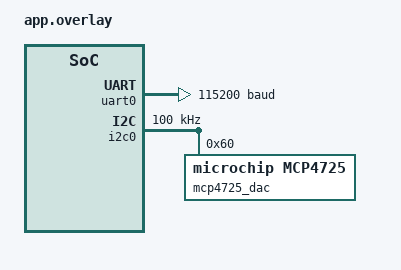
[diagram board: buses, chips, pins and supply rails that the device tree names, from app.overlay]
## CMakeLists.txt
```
# SPDX-License-Identifier: Apache-2.0

set(BOARD neorv32)
cmake_minimum_required(VERSION 3.20.0)
find_package(Zephyr REQUIRED HINTS $ENV{ZEPHYR_BASE})
project(blinky)
target_sources(app PRIVATE src/main.c)
```

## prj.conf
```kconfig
CONFIG_FLASH_SIZE=76
CONFIG_GPIO=y
CONFIG_LOG_MAX_LEVEL=4
CONFIG_LOG_PRINTK=y
CONFIG_LOG=y
CONFIG_PRINTK=y
CONFIG_SERIAL=y
CONFIG_SRAM_SIZE=32
CONFIG_STDOUT_CONSOLE=y
CONFIG_UART_CONSOLE=y
CONFIG_I2C_NEORV32=y
CONFIG_I2C=y

# DAC Support
CONFIG_DAC=y
CONFIG_DAC_MCP4725=y

# Optional shell support (disable if ROM is tight)
CONFIG_SHELL=y
CONFIG_SHELL_MINIMAL=y
CONFIG_DEVICE_SHELL=y
CONFIG_I2C_SHELL=y
#CONFIG_I2C_LOG_LEVEL_DBG=y
```

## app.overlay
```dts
/*
&cpu0 {
    clock-frequency = <DT_FREQ_M(27)>;
};
*/


&uart0 {
    current-speed = <115200>;
    reg = <0xfff50000 8>;
};

&imem {
    reg = <0x00000000 DT_SIZE_K(76)>;
};

&dmem {
    reg = <0x80000000 DT_SIZE_K(32)>;
};

&i2c0 {
    status = "okay";
    clock-frequency = <100000>; /* 100 kHz - Standard I2C speed */

    mcp4725_dac: mcp4725@60 {
        compatible = "microchip,mcp4725";
        reg = <0x60>;
        #io-channel-cells = <1>;
        status = "okay";
    };
};
```

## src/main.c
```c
/*
 * Copyright (c) 2016 Intel Corporation
 *
 * SPDX-License-Identifier: Apache-2.0
 */

#include <stdio.h>
#include <zephyr/drivers/gpio.h>
#include <zephyr/drivers/i2c.h>
#include <zephyr/drivers/dac.h>
#include <zephyr/kernel.h>
#include <zephyr/logging/log.h>

#define SLEEP_TIME_MS 10000
/* 1000 msec = 1 sec */

/* The devicetree node identifier for the "led0" alias. */
#define LED0_NODE DT_ALIAS(led0)

/*
 * A build error on this line means your board is unsupported.
 * See the sample documentation for information on how to fix this.
 */
static const struct gpio_dt_spec led = GPIO_DT_SPEC_GET(LED0_NODE, gpios);

#define PPS_TIMESTAMP_LO ((volatile uint32_t *)0x13000)
#define PPS_TIMESTAMP_HI ((volatile uint32_t *)0x13004)
#define PPS_FLAGS ((volatile uint32_t *)0x13008)
#define PPS_PPS_COUNT ((volatile uint32_t *)0x1300c)
#define PPS_TARGET_HZ 10000000LL // 10 MHz
#define PPS_TARGET_MAX_DELTA_HZ 1000LL
#define PLL_MULTIPLIER 10

unsigned int pps_count = 60;

static uint64_t pps_get64(volatile uint32_t *addr) {
  uint32_t th1, th2, tl;
  uint64_t ts;

  /* addr is low word; addr+1 is high */

  do {
    th1 = *(addr + 1);
    tl = *addr;
    th2 = *(addr + 1);
  } while (th1 != th2);

  ts = ((uint64_t)th1 << 32) | tl;

  return ts;
}

uint64_t pps_get_tcxo_timestamp(void) { return pps_get64(PPS_TIMESTAMP_LO); }

uint32_t pps_get_pps_flags(void) { return *PPS_FLAGS; }
uint32_t pps_get_pps_timestamp(void) { return *PPS_PPS_COUNT; }

#define PPS_FLAG_TIMSTAMP_VALID 0x1

void test_mcp4725_dac(void) {
  // Try DAC driver first (now that I2C is properly configured)
  const struct device *dac_dev = DEVICE_DT_GET(DT_NODELABEL(mcp4725_dac));

  // Generate a stepping DAC output pattern
  static uint16_t dac_value = 0;
  static uint8_t step_count = 0;

  // Create different voltage levels for easy scope observation
  // 0V, 0.825V, 1.65V, 2.475V, 3.3V (assuming 3.3V Vdd)
  uint16_t voltage_steps[] = {0, 1024, 2048, 3072, 4095}; // 12-bit values

  // Use predefined steps for first 5 cycles, then ramp
  if (step_count < 5) {
    dac_value = voltage_steps[step_count];
    step_count++;
  } else {
    // Continuous ramp from 0 to 4095
    dac_value += 256;  // Increment by 256 for visible steps
    if (dac_value > 4095) {
      dac_value = 0;
      step_count = 0;  // Reset to step pattern
    }
  }

  if (!device_is_ready(dac_dev)) {
    return;
  }
  // Use Zephyr DAC API
  struct dac_channel_cfg dac_cfg = {
    .channel_id = 0,
    .resolution = 12,
  };

  int ret = dac_channel_setup(dac_dev, &dac_cfg);
  if (ret < 0) {
    printf("DAC channel setup failed: %d\n", ret);
    return;
  }

  ret = dac_write_value(dac_dev, 0, dac_value);
  if (ret == 0) {
    uint32_t voltage_mv = (dac_value * 3300) / 4095;
    printf("DAC: value=%d, voltage=%d.%03dV\n",
            dac_value, voltage_mv / 1000, voltage_mv % 1000);
  } else {
    printf("DAC write failed: %d (value=%d)\n", ret, dac_value);
  }

}

void process_pps() {
  // Read conunters from fpga
  uint64_t pps_timestamp = pps_get_pps_timestamp();
  uint32_t pps_flags = pps_get_pps_flags();
  uint64_t tcxo_timestamp = pps_get_tcxo_timestamp();

  // These are the counts from the last ppm pulse
  static uint64_t last_tcxo_timestamp = 0;
  static uint64_t last_ppm_timestamp = 0;

  if (last_ppm_timestamp == pps_timestamp) {
    return;
  }
  printf("PPS timestamp: %llu flags: %" PRIu32 " tcxp: %" PRIu64 "\n",
         pps_timestamp, pps_flags, tcxo_timestamp);

  // These are the counts from where we started to meassure
  static uint64_t last_tcxo_reset_timestamp = 0;
  static uint64_t last_ppm_reset_timestamp = 0;

  uint64_t tcxo_ticks = tcxo_timestamp - last_tcxo_timestamp;
  uint64_t pps_ticks = pps_timestamp - last_ppm_timestamp;

  // Ticks since we started to meassure
  uint64_t delta_tcxo_ticks = tcxo_timestamp - last_tcxo_reset_timestamp;
  uint64_t delta_pps_ticks = pps_timestamp - last_ppm_reset_timestamp;

  /* Some checks are needed to avoid convergence problems.  One can
   * get junk readings from the GPS when it is aquiring a fix.  Also,
   * it can miss pulses if reception is not good.
   * Also, trying to go faster than clk_pps results in overflow in
   * The adjust function.  It's a good idea to process only observed periods
   * that are plausible.
   */

  unsigned char valid_signal = 1;
  /* reject periods that are not plausible */
  if ((tcxo_ticks <
       ((PPS_TARGET_HZ - PPS_TARGET_MAX_DELTA_HZ) * PLL_MULTIPLIER)) ||
      (tcxo_ticks >=
       ((PPS_TARGET_HZ + PPS_TARGET_MAX_DELTA_HZ) * PLL_MULTIPLIER))) {
    valid_signal = 0;
  }

  if (true) {

    // Observed period of all our meassurements
    uint64_t observed_period =
        (delta_tcxo_ticks * 1000) / (delta_pps_ticks * PLL_MULTIPLIER);
    uint32_t whole_part = observed_period / 1000000000;
    uint32_t fractional_part = observed_period % 1000000000;

    printf("TICKS/PPS: %" PRIu64 ", TCXO: %" PRIu64 ", PPS: %" PRIu64,
           tcxo_ticks / pps_ticks, delta_tcxo_ticks, delta_pps_ticks);
    printf(", FREQ: %" PRIu32 ".%" PRIu32 " MHz, status: %s", whole_part,
           fractional_part, (valid_signal == 1) ? "valid" : "invalid");
    printf("\n");
  }
  last_tcxo_timestamp = tcxo_timestamp;
  last_ppm_timestamp = pps_timestamp;

  // After 10 pulses we will reset the counter.
  if (delta_pps_ticks >= pps_count || !valid_signal) {
    last_tcxo_reset_timestamp = tcxo_timestamp;
    last_ppm_reset_timestamp = pps_timestamp;
  }
}

int main(void) {
  printf("Hello World! %s\n", CONFIG_BOARD);
  //LOG_LEVEL_SET(LOG_LEVEL_DBG);

  int ret;
  bool led_state = true;

  if (!gpio_is_ready_dt(&led)) {
    return 0;
  }

  ret = gpio_pin_configure_dt(&led, GPIO_OUTPUT_ACTIVE);
  if (ret < 0) {
    return 0;
  }

  // Check device initialization status
  const struct device *i2c_dev = DEVICE_DT_GET(DT_NODELABEL(i2c0));
  const struct device *dac_dev = DEVICE_DT_GET(DT_NODELABEL(mcp4725_dac));

  printf("I2C ready: %s, DAC ready: %s\n",
         device_is_ready(i2c_dev) ? "yes" : "no",
         device_is_ready(dac_dev) ? "yes" : "no");

  static int cycle_count = 0;

  while (1) {
    ret = gpio_pin_toggle_dt(&led);
    if (ret < 0) {
      return 0;
    }

    led_state = !led_state;

    // Update DAC output every cycle
    cycle_count++;
    printf("\n=== Cycle %d ===\n", cycle_count);
    test_mcp4725_dac();

    // Uncomment to enable PPS processing
    // process_pps();

    // Sleep for 2 seconds to see changes clearly
    k_msleep(2000);
  }
  return 0;
}
```
